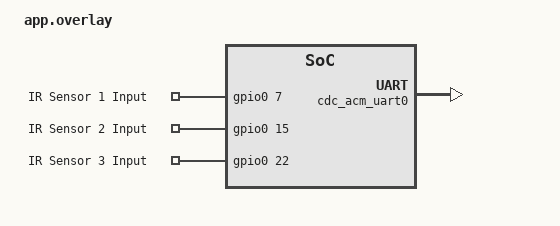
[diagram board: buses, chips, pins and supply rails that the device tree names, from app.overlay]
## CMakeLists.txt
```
# SPDX-License-Identifier: Apache-2.0

cmake_minimum_required(VERSION 3.20.0)

find_package(Zephyr REQUIRED HINTS $ENV{ZEPHYR_BASE})
project(picow_ir_mul_int)

target_sources(app PRIVATE src/main.c)
```

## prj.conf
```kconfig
#CDC specific configurations
CONFIG_USB_DEVICE_STACK=y
CONFIG_USB_DEVICE_PRODUCT="RPi Pico USB Serial Console"
CONFIG_USB_DEVICE_VID=0001
CONFIG_CONSOLE=y

#GPIO specific configurations
CONFIG_GPIO=y #Enables the use of GPIO pins

#UART specific configurations - also required for CDC ACM
CONFIG_SERIAL=y # Enable options for serial drivers
CONFIG_UART_CONSOLE=y # Sets the default for printk and printf to output to the UART serial console
CONFIG_UART_LINE_CTRL=y # This enables the API for apps to control the serial line, such as baud rate, CTS and RTS.
```

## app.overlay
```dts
/ {
    chosen {
        zephyr,console = &cdc_acm_uart0;
    };

    ir_sensors {
        compatible = "gpio-keys";
        
        ir_sensor_1: ir_sensor_1_input {
            gpios = <&gpio0 7 GPIO_ACTIVE_HIGH>;
            label = "IR Sensor 1 Input";
        };

        ir_sensor_2: ir_sensor_2_input {
            gpios = <&gpio0 15 GPIO_ACTIVE_HIGH>;
            label = "IR Sensor 2 Input";
        };

        ir_sensor_3: ir_sensor_3_input {
            gpios = <&gpio0 22 GPIO_ACTIVE_HIGH>;
            label = "IR Sensor 3 Input";
        };
    };
};

&zephyr_udc0 {
    cdc_acm_uart0: cdc_acm_uart0 {
        compatible = "zephyr,cdc-acm-uart";
        label = "CDC_ACM_0";
        status = "okay";
    };
};
```

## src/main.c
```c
#include <zephyr/kernel.h>
#include <zephyr/drivers/gpio.h>
#include <zephyr/usb/usb_device.h>
#include <zephyr/drivers/uart.h>

#define IR_SENSOR_NODE1 DT_PATH(ir_sensors, ir_sensor_1_input)
#define IR_SENSOR_NODE2 DT_PATH(ir_sensors, ir_sensor_2_input)
#define IR_SENSOR_NODE3 DT_PATH(ir_sensors, ir_sensor_3_input)

//This structure encapsulates all relevant information for each sensor:
struct sensor_data {
    struct gpio_callback cb;
    const struct device *dev;
    struct gpio_dt_spec sensor;
    const char *sensor_name;
    int status;  // Store the status of each sensor
    int last_status; // Store the last known status
};

void clear_screen(const struct device *uart_dev)
{
    char clear_cmd[] = "\033[2J\033[H"; // Clear screen and move cursor to home position
    uart_fifo_fill(uart_dev, (const uint8_t *)clear_cmd, sizeof(clear_cmd) - 1);
}

void ir_sensor_isr(const struct device *dev, struct gpio_callback *cb, uint32_t pins)
{
    /*
    #define CONTAINER_OF(ptr, type, member) \
    ((type *)((char *)(ptr) - offsetof(type, member)))
    
    CONTAINER_OF allows the ISR to access the entire 
    sensor_data structure from just the gpio_callback pointer,
    ensuring that each sensor's context is handled individually
    and avoiding global variables. - essentially calculates
    struct base address using a struct member
    */
    struct sensor_data *data = CONTAINER_OF(cb, struct sensor_data, cb);
    data->status = gpio_pin_get(data->sensor.port, data->sensor.pin);
    
    if (data->status != data->last_status) {
        char buffer[128];
        int len = 0;

        if (data->status == 0) {
            len = snprintf(buffer, sizeof(buffer), "%s: Obstacle detected\r\n", data->sensor_name);
            uart_fifo_fill(data->dev, (const uint8_t *)buffer, len);
        } else {
            clear_screen(data->dev);
        }

        data->last_status = data->status;  // Update the last known status
    }
}

int main(void)
{
    int ret;

    // Define and initialize sensor data for each sensor
    struct sensor_data sensors[] = {
        { .sensor = GPIO_DT_SPEC_GET(IR_SENSOR_NODE1, gpios), .sensor_name = "IR_1" },
        { .sensor = GPIO_DT_SPEC_GET(IR_SENSOR_NODE2, gpios), .sensor_name = "IR_2" },
        { .sensor = GPIO_DT_SPEC_GET(IR_SENSOR_NODE3, gpios), .sensor_name = "IR_3" },
    };
    
    const struct device *dev = DEVICE_DT_GET(DT_CHOSEN(zephyr_console));
    for (int i = 0; i < ARRAY_SIZE(sensors); i++) {
        sensors[i].dev = dev; //the same ACM device is used to send messages for all sensors over the console
        sensors[i].status = 1;  // Initialize status - 1 indicates No Obstacle since the default behaviour is GPIO_ACTIVE_HIGH
        sensors[i].last_status = 1;  // Initialize last status
        if (!gpio_is_ready_dt(&sensors[i].sensor)) {
            printk("Error: %s GPIO device is not ready\r\n", sensors[i].sensor_name);
            return 0;
        }

        ret = gpio_pin_configure_dt(&sensors[i].sensor, GPIO_INPUT);
        if (ret != 0) {
            printk("Error %d: Failed to configure %s pin\r\n", ret, sensors[i].sensor_name);
            return 0;
        }

        // Register callbacks
        gpio_init_callback(&sensors[i].cb, ir_sensor_isr, BIT(sensors[i].sensor.pin));
        ret = gpio_add_callback(sensors[i].sensor.port, &sensors[i].cb);
        if(ret != 0) {
            printk("Error %d: Failed to add GPIO callback for sensors\r\n", ret);
            return 0;
        }
        ret = gpio_pin_interrupt_configure_dt(&sensors[i].sensor, GPIO_INT_EDGE_BOTH);
        if (ret != 0) {
            printk("Error %d: Failed to configure interrupt on %s pin\r\n", ret, sensors[i].sensor_name);
            return 0;
        }
    }

    if (!device_is_ready(dev)) {
        printk("CDC ACM device not ready\n");
        return 0;
    }

    ret = usb_enable(NULL);
    if (ret != 0) {
        printk("Failed to enable USB\n");
        return 0;
    }

    /* Wait for the USB connection */
    k_sleep(K_SECONDS(1));

    // Sleep indefinitely, ISR handles sensor events
    while (1) {
        k_sleep(K_SECONDS(1)); 
    }

    return 0;
}
```
